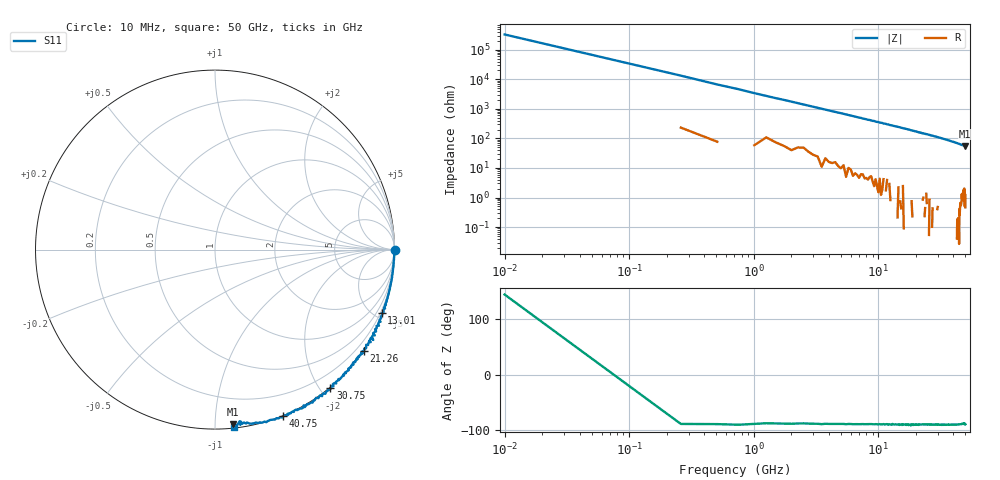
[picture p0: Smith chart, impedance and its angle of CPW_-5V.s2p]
!Agilent Technologies,N5227A,US51270434,A.10.00.00
!Agilent N5227A: A.10.00.00
!Date: Friday, February 13, 2026 14:18:45
!Correction: S11(Full 1 Port(1))
!S21(Off)
!S12(Off)
!S22(Off)
!S2P File: Measurements: S11, S21, S12, S22:
# Hz S  dB  R 50
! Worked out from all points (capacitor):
!   201 points, 10 MHz to 50 GHz, reference 50 ohm
!   read as one part to ground: C = 45.9 fF near 259.9 MHz
!   lowest |Z| = 55.5 ohm at 49.75 GHz (marker M1)
!   S11 on the Smith chart (normalised r, x): 10 MHz: open; 13.01 GHz: 0.09, -5.42; 21.26 GHz: -0.01, -3.25; 30.75 GHz: -0.01, -2.14; 40.75 GHz: -0.00, -1.49; 50 GHz: 0.01, -1.11
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1e7  0.00 0.0  -200.00 45.0  -200.00 45.0  -200.00 45.0
8.5083e9  -0.02 -13.5  -200.00 45.0  -200.00 45.0  -200.00 45.0
1.30074e10  -0.05 -20.9  -200.00 45.0  -200.00 45.0  -200.00 45.0
1.675665e10  0.06 -26.9  -200.00 45.0  -200.00 45.0  -200.00 45.0
1.825635e10  0.13 -29.7  -200.00 45.0  -200.00 45.0  -200.00 45.0
2.0006e10  -0.04 -32.2  -200.00 45.0  -200.00 45.0  -200.00 45.0
2.10058e10  0.08 -34.8  -200.00 45.0  -200.00 45.0  -200.00 45.0
2.125575e10  0.01 -34.2  -200.00 45.0  -200.00 45.0  -200.00 45.0
2.5005e10  -0.03 -40.4  -200.00 45.0  -200.00 45.0  -200.00 45.0
3.075385e10  0.03 -50.1  -200.00 45.0  -200.00 45.0  -200.00 45.0
3.35033e10  0.05 -55.0  -200.00 45.0  -200.00 45.0  -200.00 45.0
3.975205e10  0.00 -66.1  -200.00 45.0  -200.00 45.0  -200.00 45.0
4.025195e10  0.06 -66.1  -200.00 45.0  -200.00 45.0  -200.00 45.0
4.075185e10  0.03 -67.8  -200.00 45.0  -200.00 45.0  -200.00 45.0
4.175165e10  0.04 -69.3  -200.00 45.0  -200.00 45.0  -200.00 45.0
4.675065e10  -0.18 -79.5  -200.00 45.0  -200.00 45.0  -200.00 45.0
4.85003e10  -0.26 -81.6  -200.00 45.0  -200.00 45.0  -200.00 45.0
4.875025e10  -0.11 -81.8  -200.00 45.0  -200.00 45.0  -200.00 45.0
4.90002e10  -0.30 -81.8  -200.00 45.0  -200.00 45.0  -200.00 45.0
4.95001e10  -0.08 -83.2  -200.00 45.0  -200.00 45.0  -200.00 45.0
4.975005e10  -0.20 -84.0  -200.00 45.0  -200.00 45.0  -200.00 45.0
5e10  -0.07 -83.9  -200.00 45.0  -200.00 45.0  -200.00 45.0
